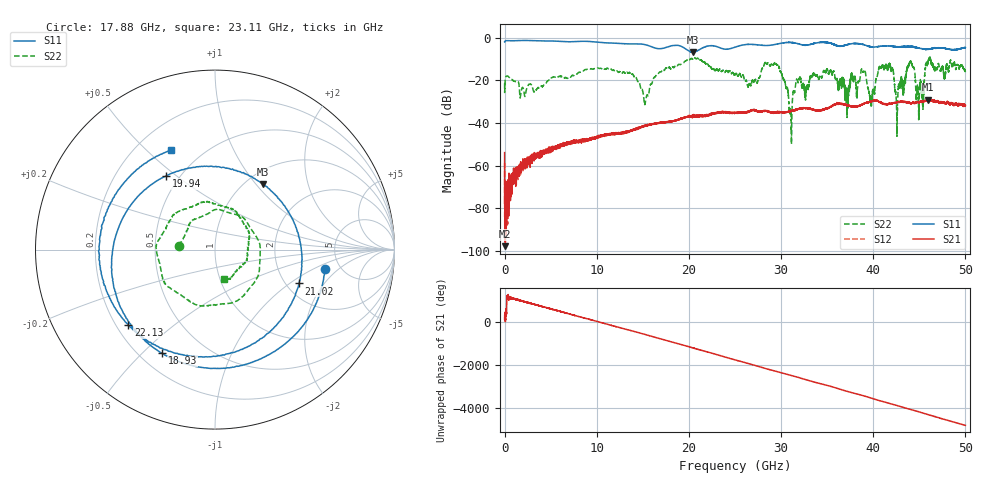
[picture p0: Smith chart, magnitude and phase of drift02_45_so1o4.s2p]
!Created with skrf (http://scikit-rf.org).
# Hz S RI R 50.0
!freq ReS11 ImS11 ReS21 ImS21 ReS12 ImS12 ReS22 ImS22
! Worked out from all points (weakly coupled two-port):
!   10001 points, 300 kHz to 50 GHz, reference 50 ohm
!   highest |S21| = -29.08 dB at 45.98 GHz (marker M1); lowest = -97.8 dB at 80.3 MHz (marker M2)
!   lowest |S11| = -6.9 dB at 20.44 GHz (marker M3), VSWR 2.65, Z = 59.5 + j54.4 ohm
!   |S11| at or under -10 dB: nowhere
!   |S22| runs from -50.0 to -9.2 dB; largest |S21 - S12| = 0.0033
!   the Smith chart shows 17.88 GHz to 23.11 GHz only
!   S11 on the Smith chart (normalised r, x): 17.88 GHz: 3.81, -1.32; 18.93 GHz: 0.29, -0.58; 19.94 GHz: 0.42, +0.46; 21.02 GHz: 2.34, -1.18; 22.13 GHz: 0.25, -0.35; 23.11 GHz: 0.34, +0.60
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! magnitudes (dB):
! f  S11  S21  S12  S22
! 300 kHz  -2.1  -53.9  -58.8  -21.5
! 80.3 MHz  -1.5  -97.8  -75.9  -19.2
! 8.335 GHz  -1.7  -48.8  -48.3  -15.7
! 15.33 GHz  -3.4  -41.2  -41.3  -29.0
! 16.67 GHz  -5.2  -40.1  -40.0  -16.9
! 17.88 GHz  -4.1  -39.4  -39.3  -13.9
! 18.93 GHz  -3.8  -38.2  -38.3  -12.5
! 19.94 GHz  -6.1  -37.1  -37.0  -10.1
! 20.44 GHz  -6.9  -36.4  -36.6  -9.9
! 21.02 GHz  -6.0  -36.8  -36.8  -9.9
! 22.13 GHz  -3.9  -36.1  -36.1  -13.0
! 23.11 GHz  -4.4  -35.2  -35.1  -15.4
! 25 GHz  -4.5  -35.3  -35.3  -17.6
! 29.51 GHz  -3.1  -34.9  -35.2  -12.5
! 31.03 GHz  -2.2  -34.5  -34.7  -35.1
! 33.34 GHz  -3.0  -33.5  -33.4  -18.1
! 39.75 GHz  -4.4  -29.9  -30.0  -31.5
! 41.67 GHz  -4.0  -31.1  -31.3  -13.1
! 44.18 GHz  -4.1  -30.8  -30.6  -12.1
! 44.85 GHz  -4.8  -30.0  -30.4  -24.4
! 45.98 GHz  -5.4  -29.1  -29.4  -10.4
! 50 GHz  -4.7  -31.8  -32.0  -15.7
